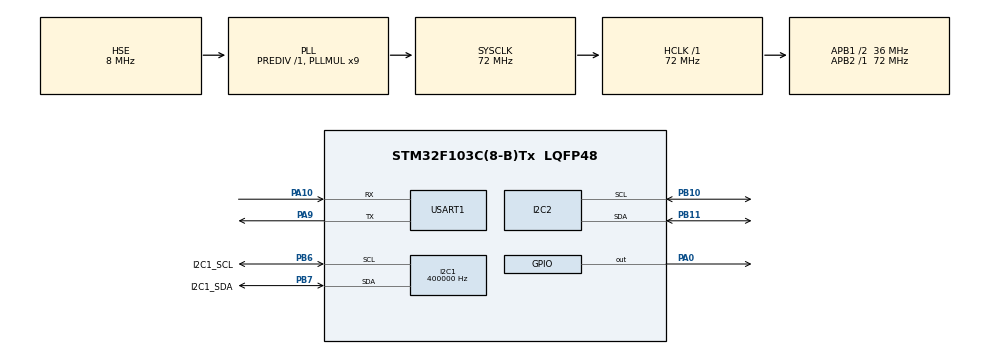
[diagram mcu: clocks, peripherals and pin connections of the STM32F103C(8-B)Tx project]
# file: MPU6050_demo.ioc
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I2C1.ClockSpeed=400000
I2C1.I2C_Mode=I2C_Fast
I2C2.I2C_Mode=I2C_Fast
Mcu.Family=STM32F1
Mcu.Name=STM32F103C(8-B)Tx
Mcu.Package=LQFP48
NVIC.PriorityGroup=NVIC_PRIORITYGROUP_4
PA0-WKUP.GPIO_ModeDefaultOutputPP=GPIO_MODE_OUTPUT_PP
PA0-WKUP.GPIO_PuPd=GPIO_PULLUP
PA0-WKUP.PinState=GPIO_PIN_RESET
PA0-WKUP.Signal=GPIO_Output
PA10.Mode=Asynchronous
PA10.Signal=USART1_RX
PA13.Mode=Serial_Wire
PA13.Signal=SYS_JTMS-SWDIO
PA14.Mode=Serial_Wire
PA14.Signal=SYS_JTCK-SWCLK
PA9.Mode=Asynchronous
PA9.Signal=USART1_TX
PB10.GPIO_Speed=GPIO_SPEED_FREQ_HIGH
PB10.Mode=I2C
PB10.Signal=I2C2_SCL
PB11.GPIO_Speed=GPIO_SPEED_FREQ_HIGH
PB11.Mode=I2C
PB11.Signal=I2C2_SDA
PB6.GPIO_Label=I2C1_SCL
PB6.GPIO_Speed=GPIO_SPEED_FREQ_HIGH
PB6.Mode=I2C
PB6.Signal=I2C1_SCL
PB7.GPIO_Label=I2C1_SDA
PB7.GPIO_Speed=GPIO_SPEED_FREQ_HIGH
PB7.Mode=I2C
PB7.Signal=I2C1_SDA
PD0-OSC_IN.Mode=HSE-External-Oscillator
PD0-OSC_IN.Signal=RCC_OSC_IN
PD1-OSC_OUT.Mode=HSE-External-Oscillator
PD1-OSC_OUT.Signal=RCC_OSC_OUT
ProjectManager.HeapSize=0x200
ProjectManager.StackSize=0x400
ProjectManager.TargetToolchain=MDK-ARM V5.32
RCC.AHBFreq_Value=72000000
RCC.APB1CLKDivider=RCC_HCLK_DIV2
RCC.APB1Freq_Value=36000000
RCC.APB1TimFreq_Value=72000000
RCC.APB2Freq_Value=72000000
RCC.APB2TimFreq_Value=72000000
RCC.HCLKFreq_Value=72000000
RCC.PLLMUL=RCC_PLL_MUL9
RCC.PLLSourceVirtual=RCC_PLLSOURCE_HSE
RCC.SYSCLKFreq_VALUE=72000000
RCC.SYSCLKSource=RCC_SYSCLKSOURCE_PLLCLK
RCC.USBFreq_Value=72000000
USART1.VirtualMode=VM_ASYNC
board=custom

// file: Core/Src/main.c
/* USER CODE BEGIN Header */
/**
  ******************************************************************************
  * @file           : main.c
  * @brief          : Main program body
  ******************************************************************************
  * @attention
  *
  * Copyright (c) 2026 STMicroelectronics.
  * All rights reserved.
  *
  * This software is licensed under terms that can be found in the LICENSE file
  * in the root directory of this software component.
  * If no LICENSE file comes with this software, it is provided AS-IS.
  *
  ******************************************************************************
  */
/* USER CODE END Header */
#include "main.h"
#include "i2c.h"
#include "usart.h"
#include "gpio.h"

/* USER CODE BEGIN Includes */
#include "PRINTF.H"
#include "OLED.h"
#include "mpu6050.h"
/* USER CODE END Includes */

void SystemClock_Config(void);
/* USER CODE BEGIN PFP */

// 初始化 DWT（在 main 函数初始化部分调用一次）：
void DWT_Init(void) {
   CoreDebug->DEMCR |= CoreDebug_DEMCR_TRCENA_Msk; // 开启追踪单元
   DWT->CYCCNT = 0;                                // 计数器清零
   DWT->CTRL |= DWT_CTRL_CYCCNTENA_Msk;           // 开启计数器
}

// 编写获取微秒的函数
uint32_t micros(void) {
    return DWT->CYCCNT / (SystemCoreClock / 1000000);
}
/* USER CODE END PFP */

int main(void)
{

  /* MCU Configuration--------------------------------------------------------*/

  /* Reset of all peripherals, Initializes the Flash interface and the Systick. */
  HAL_Init();

  /* Configure the system clock */
  SystemClock_Config();

  /* Initialize all configured peripherals */
  MX_GPIO_Init();
  MX_USART1_UART_Init();
  MX_I2C1_Init();
  MX_I2C2_Init();
  /* USER CODE BEGIN 2 */
	DWT_Init();
	OLED_Init();
	MPU6050_Init(&hi2c2);
	Printf_Init(&huart1);

	// 读取数据
	MPU6050_t mpu6050_date;

	//读取时间计算
	uint32_t old_Time=0;	//老时间（姿态解算前）
	uint32_t new_Time=0;	//新时间（姿态解算后）
	uint32_t diff_Time=0;	//时间差值

//  /*在(0, 28)位置显示数字12345，长度为5，字体大小为6*8点阵*/
//  OLED_ShowNum(0, 28, 12345, 5, OLED_6X8);
//	OLED_Update();
  /* USER CODE END 2 */

  /* Infinite loop */
  /* USER CODE BEGIN WHILE */
  while (1)
  {
		old_Time = micros();								//读取姿态解算前时间
		MPU6050_Read_All(&hi2c2,&mpu6050_date);	//进行姿态解算，更新结构体
		new_Time = micros();								//读取姿态解算后时间
		diff_Time = new_Time - old_Time;				//计算时间差，得出姿态解算所花时间

		printf("x轴加速度%d x轴角速度%d \n",mpu6050_date.Accel_X_RAW,mpu6050_date.Gyro_X_RAW);
		printf("y轴加速度%d y轴角速度%d \n",mpu6050_date.Accel_Y_RAW,mpu6050_date.Gyro_Y_RAW);
		printf("z轴加速度%d z轴角速度%d \n",mpu6050_date.Accel_Z_RAW,mpu6050_date.Gyro_Z_RAW);
		printf(" \n");
		printf("转化后x轴加速度%f g 转化后x轴角速度%f 度/s \n",mpu6050_date.Ax,mpu6050_date.Gx);
		printf("转化后y轴加速度%f g 转化后y轴角速度%f 度/s \n",mpu6050_date.Ay,mpu6050_date.Gy);
		printf("转化后z轴加速度%f g 转化后z轴角速度%f 度/s \n",mpu6050_date.Az,mpu6050_date.Gz);
		printf(" \n");
		printf("当前x轴姿态角%f 度 \n",mpu6050_date.KalmanAngleX);
		printf("当前y轴姿态角%f 度 \n",mpu6050_date.KalmanAngleY);
		printf(" \n");
		printf("姿态解算更新数据花费时间%d us \n",diff_Time);
		printf(" \n");
		HAL_Delay(200);

//		HAL_GPIO_WritePin(GPIOA,GPIO_PIN_0,GPIO_PIN_SET);
    /* USER CODE END WHILE */

  }
}

void SystemClock_Config(void)
{
  RCC_OscInitTypeDef RCC_OscInitStruct = {0};
  RCC_ClkInitTypeDef RCC_ClkInitStruct = {0};

  /** Initializes the RCC Oscillators according to the specified parameters
  * in the RCC_OscInitTypeDef structure.
  */
  RCC_OscInitStruct.OscillatorType = RCC_OSCILLATORTYPE_HSE;
  RCC_OscInitStruct.HSEState = RCC_HSE_ON;
  RCC_OscInitStruct.HSEPredivValue = RCC_HSE_PREDIV_DIV1;
  RCC_OscInitStruct.HSIState = RCC_HSI_ON;
  RCC_OscInitStruct.PLL.PLLState = RCC_PLL_ON;
  RCC_OscInitStruct.PLL.PLLSource = RCC_PLLSOURCE_HSE;
  RCC_OscInitStruct.PLL.PLLMUL = RCC_PLL_MUL9;
  if (HAL_RCC_OscConfig(&RCC_OscInitStruct) != HAL_OK)
  {
    Error_Handler();
  }

  /** Initializes the CPU, AHB and APB buses clocks
  */
  RCC_ClkInitStruct.ClockType = RCC_CLOCKTYPE_HCLK|RCC_CLOCKTYPE_SYSCLK
                              |RCC_CLOCKTYPE_PCLK1|RCC_CLOCKTYPE_PCLK2;
  RCC_ClkInitStruct.SYSCLKSource = RCC_SYSCLKSOURCE_PLLCLK;
  RCC_ClkInitStruct.AHBCLKDivider = RCC_SYSCLK_DIV1;
  RCC_ClkInitStruct.APB1CLKDivider = RCC_HCLK_DIV2;
  RCC_ClkInitStruct.APB2CLKDivider = RCC_HCLK_DIV1;

  if (HAL_RCC_ClockConfig(&RCC_ClkInitStruct, FLASH_LATENCY_2) != HAL_OK)
  {
    Error_Handler();
  }
}

void Error_Handler(void)
{
  __disable_irq();
  while (1)
  {
  }
}
